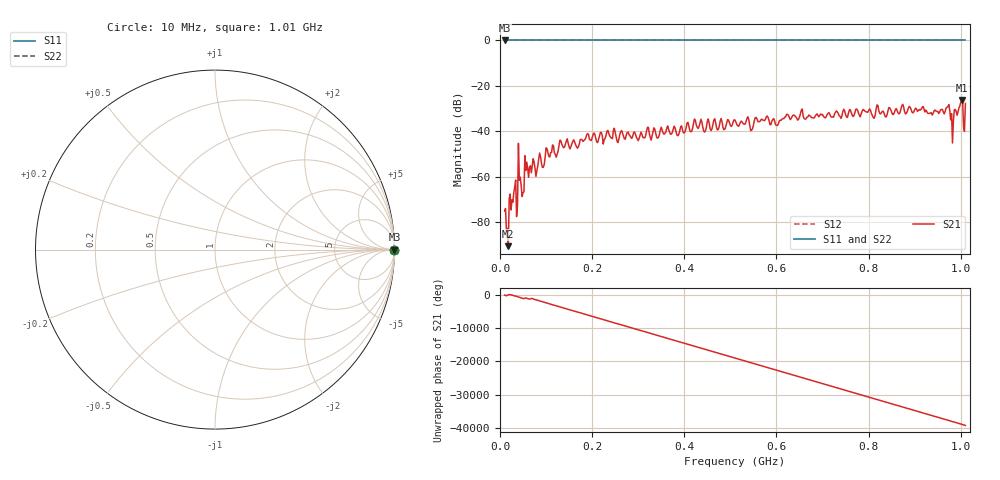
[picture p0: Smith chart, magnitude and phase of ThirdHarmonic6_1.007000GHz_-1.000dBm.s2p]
! 8/16/2025 8:14:09 AM
! C:\ANRITSUVNA\TEMP\TEMP.S2P
! CHANNEL.1
! TR.MEASUREMENT
! RAW.DATA
! RF.CORRECTION.OFF
! AVERAGING.OFF
! IF.BANDWIDTH: 5KHZ
! SWEEPTYPE:  FREQ.SWEEP(Linear)
! Reference Plane Port Info
! PORT:  PORT1  PORT2
! DISTANCE:  0  m  0  m
! TIME:  0  s  0  s
! PHASE.OFFSET:  0  deg.  0  deg.
! LOSS:  0  dB  0  dB
! REF.LOSS:  0  dB  0  dB
! REF.FREQ:  0  Hz  0  Hz
! Power Info
! POWER:  -20  dBm  -20  dBm
! EFF.POWER:  -20  dBm  -20  dBm
! SOURCE.ATTEN:  0  dB  0  dB
! TEST.ATTEN:  0  dB  0  dB
# GHZ S RI R 50.0
! FREQ.GHZ  S11RE  S11IM  S21RE  S21IM  S12RE  S12IM  S22RE  S22IM
!; PortSelection: Port_12
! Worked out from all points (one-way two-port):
!   501 points, 10 MHz to 1.01 GHz, reference 50 ohm
!   highest |S21| = -26.14 dB at 1.002 GHz (marker M1); lowest = -90.5 dB at 18 MHz (marker M2)
!   lowest |S11| = 0.0 dB at 10 MHz (marker M3)
!   |S11| at or under -10 dB: nowhere
!   |S22| runs from 0.0 to 0.0 dB; largest |S21 - S12| = 1
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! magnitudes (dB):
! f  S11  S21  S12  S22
! 10 MHz  0.0  -75.0  0.0  0.0
! 18 MHz  0.0  -90.5  0.0  0.0
! 34 MHz  0.0  -61.4  0.0  0.0
! 44 MHz  0.0  -60.1  0.0  0.0
! 48 MHz  0.0  -68.6  0.0  0.0
! 58 MHz  0.0  -53.5  0.0  0.0
! 94 MHz  0.0  -55.8  0.0  0.0
! 102 MHz  0.0  -47.6  0.0  0.0
! 122 MHz  0.0  -51.4  0.0  0.0
! 132 MHz  0.0  -44.1  0.0  0.0
! 178 MHz  0.0  -43.6  0.0  0.0
! 344 MHz  0.0  -42.6  0.0  0.0
! 510 MHz  0.0  -35.0  0.0  0.0
! 538 MHz  0.0  -33.6  0.0  0.0
! 546 MHz  0.0  -39.4  0.0  0.0
! 556 MHz  0.0  -33.9  0.0  0.0
! 678 MHz  0.0  -33.9  0.0  0.0
! 844 MHz  0.0  -29.5  0.0  0.0
! 972 MHz  0.0  -29.1  0.0  0.0
! 980 MHz  0.0  -32.2  0.0  0.0
! 1.002 GHz  0.0  -26.1  0.0  0.0
! 1.01 GHz  0.0  -27.7  0.0  0.0
